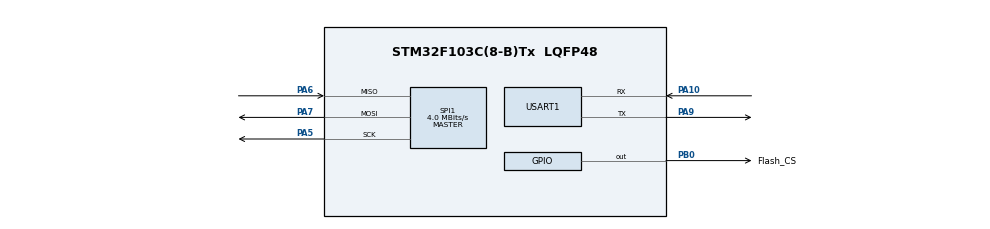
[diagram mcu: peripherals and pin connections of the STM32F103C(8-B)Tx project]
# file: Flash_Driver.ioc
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Mcu.Family=STM32F1
Mcu.Name=STM32F103C(8-B)Tx
Mcu.Package=LQFP48
NVIC.PriorityGroup=NVIC_PRIORITYGROUP_4
PA10.Mode=Asynchronous
PA10.Signal=USART1_RX
PA13.Mode=Serial_Wire
PA13.Signal=SYS_JTMS-SWDIO
PA14.Mode=Serial_Wire
PA14.Signal=SYS_JTCK-SWCLK
PA5.Mode=Full_Duplex_Master
PA5.Signal=SPI1_SCK
PA6.Mode=Full_Duplex_Master
PA6.Signal=SPI1_MISO
PA7.Mode=Full_Duplex_Master
PA7.Signal=SPI1_MOSI
PA9.Mode=Asynchronous
PA9.Signal=USART1_TX
PB0.GPIO_Label=Flash_CS
PB0.GPIO_PuPd=GPIO_PULLUP
PB0.Signal=GPIO_Output
ProjectManager.HeapSize=0x200
ProjectManager.StackSize=0x400
ProjectManager.TargetToolchain=Makefile
RCC.APB1Freq_Value=8000000
RCC.APB2Freq_Value=8000000
SPI1.BaudRatePrescaler=SPI_BAUDRATEPRESCALER_2
SPI1.CalculateBaudRate=4.0 MBits/s
SPI1.Direction=SPI_DIRECTION_2LINES
SPI1.Mode=SPI_MODE_MASTER
SPI1.VirtualType=VM_MASTER
USART1.VirtualMode=VM_ASYNC
board=custom

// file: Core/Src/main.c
/* USER CODE BEGIN Header */
/**
  ******************************************************************************
  * @file           : main.c
  * @brief          : Main program body
  ******************************************************************************
  * @attention
  *
  * Copyright (c) 2024 STMicroelectronics.
  * All rights reserved.
  *
  * This software is licensed under terms that can be found in the LICENSE file
  * in the root directory of this software component.
  * If no LICENSE file comes with this software, it is provided AS-IS.
  *
  ******************************************************************************
  */
/* USER CODE END Header */
#include "main.h"

/* USER CODE BEGIN Includes */
#include "flash_driver.h"
/* USER CODE END Includes */

SPI_HandleTypeDef hspi1;

UART_HandleTypeDef huart1;

/* USER CODE BEGIN PV */
SPI_HandleTypeDef *flash_driver_spi = &hspi1;
/* USER CODE END PV */

void SystemClock_Config(void);
static void MX_GPIO_Init(void);
static void MX_SPI1_Init(void);
static void MX_USART1_UART_Init(void);

int main(void)
{

  /* MCU Configuration--------------------------------------------------------*/

  /* Reset of all peripherals, Initializes the Flash interface and the Systick. */
  HAL_Init();

  /* Configure the system clock */
  SystemClock_Config();

  /* Initialize all configured peripherals */
  MX_GPIO_Init();
  MX_SPI1_Init();
  MX_USART1_UART_Init();
  /* USER CODE BEGIN 2 */

  flash_driver_status status = flash_driver_check_link();

  if (status)
    Error_Handler();

  uint8_t output_data[4] = { 0x55, 0xaa, 0x55, 0xaa };
  uint8_t input_data[64];

  status = flash_driver_sector_erase(0x0);
  status |= flash_driver_write(0x0, output_data, sizeof(output_data));
  status |= flash_driver_write(0x4, output_data, sizeof(output_data));
  status |= flash_driver_write(0x8, output_data, sizeof(output_data));
  status |= flash_driver_write(0xc, output_data, sizeof(output_data));
  status |= flash_driver_read(0x0, input_data, sizeof(input_data));

  if (status || input_data[0] == 0)
    __asm("nop");

  /* USER CODE END 2 */

  /* Infinite loop */
  while (1)
  {

  }
}

void SystemClock_Config(void)
{
  RCC_OscInitTypeDef RCC_OscInitStruct = {0};
  RCC_ClkInitTypeDef RCC_ClkInitStruct = {0};

  /** Initializes the RCC Oscillators according to the specified parameters
  * in the RCC_OscInitTypeDef structure.
  */
  RCC_OscInitStruct.OscillatorType = RCC_OSCILLATORTYPE_HSI;
  RCC_OscInitStruct.HSIState = RCC_HSI_ON;
  RCC_OscInitStruct.HSICalibrationValue = RCC_HSICALIBRATION_DEFAULT;
  RCC_OscInitStruct.PLL.PLLState = RCC_PLL_NONE;
  if (HAL_RCC_OscConfig(&RCC_OscInitStruct) != HAL_OK)
  {
    Error_Handler();
  }

  /** Initializes the CPU, AHB and APB buses clocks
  */
  RCC_ClkInitStruct.ClockType = RCC_CLOCKTYPE_HCLK|RCC_CLOCKTYPE_SYSCLK
                              |RCC_CLOCKTYPE_PCLK1|RCC_CLOCKTYPE_PCLK2;
  RCC_ClkInitStruct.SYSCLKSource = RCC_SYSCLKSOURCE_HSI;
  RCC_ClkInitStruct.AHBCLKDivider = RCC_SYSCLK_DIV1;
  RCC_ClkInitStruct.APB1CLKDivider = RCC_HCLK_DIV1;
  RCC_ClkInitStruct.APB2CLKDivider = RCC_HCLK_DIV1;

  if (HAL_RCC_ClockConfig(&RCC_ClkInitStruct, FLASH_LATENCY_0) != HAL_OK)
  {
    Error_Handler();
  }
}

static void MX_SPI1_Init(void)
{

  /* SPI1 parameter configuration*/
  hspi1.Instance = SPI1;
  hspi1.Init.Mode = SPI_MODE_MASTER;
  hspi1.Init.Direction = SPI_DIRECTION_2LINES;
  hspi1.Init.DataSize = SPI_DATASIZE_8BIT;
  hspi1.Init.CLKPolarity = SPI_POLARITY_LOW;
  hspi1.Init.CLKPhase = SPI_PHASE_1EDGE;
  hspi1.Init.NSS = SPI_NSS_SOFT;
  hspi1.Init.BaudRatePrescaler = SPI_BAUDRATEPRESCALER_2;
  hspi1.Init.FirstBit = SPI_FIRSTBIT_MSB;
  hspi1.Init.TIMode = SPI_TIMODE_DISABLE;
  hspi1.Init.CRCCalculation = SPI_CRCCALCULATION_DISABLE;
  hspi1.Init.CRCPolynomial = 10;
  if (HAL_SPI_Init(&hspi1) != HAL_OK)
  {
    Error_Handler();
  }

}

static void MX_USART1_UART_Init(void)
{

  huart1.Instance = USART1;
  huart1.Init.BaudRate = 115200;
  huart1.Init.WordLength = UART_WORDLENGTH_8B;
  huart1.Init.StopBits = UART_STOPBITS_1;
  huart1.Init.Parity = UART_PARITY_NONE;
  huart1.Init.Mode = UART_MODE_TX_RX;
  huart1.Init.HwFlowCtl = UART_HWCONTROL_NONE;
  huart1.Init.OverSampling = UART_OVERSAMPLING_16;
  if (HAL_UART_Init(&huart1) != HAL_OK)
  {
    Error_Handler();
  }

}

static void MX_GPIO_Init(void)
{
  GPIO_InitTypeDef GPIO_InitStruct = {0};

  /* GPIO Ports Clock Enable */
  __HAL_RCC_GPIOA_CLK_ENABLE();
  __HAL_RCC_GPIOB_CLK_ENABLE();

  /*Configure GPIO pin Output Level */
  HAL_GPIO_WritePin(Flash_CS_GPIO_Port, Flash_CS_Pin, GPIO_PIN_RESET);

  /*Configure GPIO pin : Flash_CS_Pin */
  GPIO_InitStruct.Pin = Flash_CS_Pin;
  GPIO_InitStruct.Mode = GPIO_MODE_OUTPUT_PP;
  GPIO_InitStruct.Pull = GPIO_PULLUP;
  GPIO_InitStruct.Speed = GPIO_SPEED_FREQ_LOW;
  HAL_GPIO_Init(Flash_CS_GPIO_Port, &GPIO_InitStruct);

}

void Error_Handler(void)
{
  __disable_irq();
  while (1)
  {
  }
}
